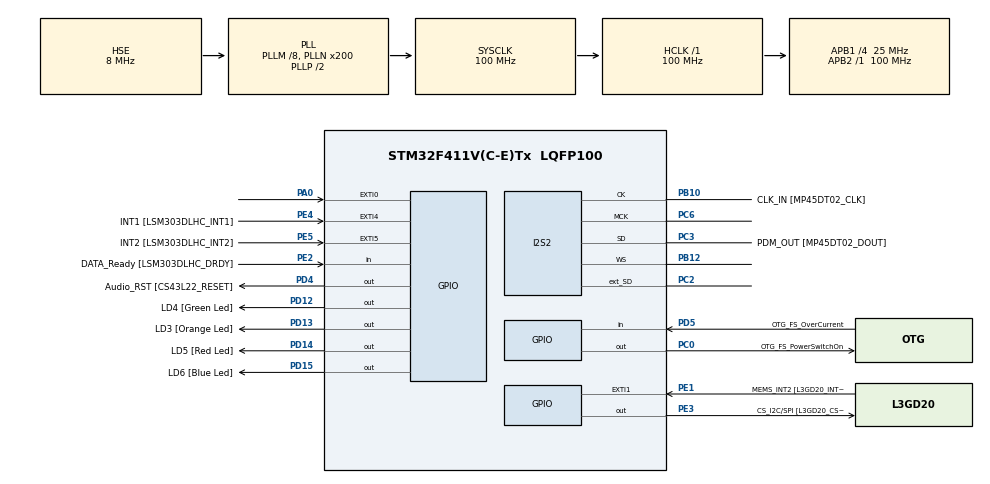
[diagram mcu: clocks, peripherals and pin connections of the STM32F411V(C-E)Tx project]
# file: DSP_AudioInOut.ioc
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Dma.I2S2_EXT_RX.0.Direction=DMA_PERIPH_TO_MEMORY
Dma.I2S2_EXT_RX.0.FIFOMode=DMA_FIFOMODE_DISABLE
Dma.I2S2_EXT_RX.0.Instance=DMA1_Stream3
Dma.I2S2_EXT_RX.0.MemDataAlignment=DMA_MDATAALIGN_HALFWORD
Dma.I2S2_EXT_RX.0.MemInc=DMA_MINC_ENABLE
Dma.I2S2_EXT_RX.0.Mode=DMA_CIRCULAR
Dma.I2S2_EXT_RX.0.PeriphDataAlignment=DMA_PDATAALIGN_HALFWORD
Dma.I2S2_EXT_RX.0.PeriphInc=DMA_PINC_DISABLE
Dma.I2S2_EXT_RX.0.Priority=DMA_PRIORITY_HIGH
Dma.Request0=I2S2_EXT_RX
Dma.Request1=SPI2_TX
Dma.SPI2_TX.1.Direction=DMA_MEMORY_TO_PERIPH
Dma.SPI2_TX.1.FIFOMode=DMA_FIFOMODE_DISABLE
Dma.SPI2_TX.1.Instance=DMA1_Stream4
Dma.SPI2_TX.1.MemDataAlignment=DMA_MDATAALIGN_HALFWORD
Dma.SPI2_TX.1.MemInc=DMA_MINC_ENABLE
Dma.SPI2_TX.1.Mode=DMA_CIRCULAR
Dma.SPI2_TX.1.PeriphDataAlignment=DMA_PDATAALIGN_HALFWORD
Dma.SPI2_TX.1.PeriphInc=DMA_PINC_DISABLE
Dma.SPI2_TX.1.Priority=DMA_PRIORITY_HIGH
I2S2.AudioFreq=I2S_AUDIOFREQ_96K
I2S2.DataFormat=I2S_DATAFORMAT_24B
I2S2.ErrorAudioFreq=-2.34 %
I2S2.FullDuplexMode=I2S_FULLDUPLEXMODE_ENABLE
I2S2.Instance=SPI$Index
I2S2.RealAudioFreq=93.75 KHz
I2S2.VirtualMode=I2S_MODE_MASTER
Mcu.Family=STM32F4
Mcu.Name=STM32F411V(C-E)Tx
Mcu.Package=LQFP100
NVIC.DMA1_Stream3_IRQn=true\:0\:0\:false\:false\:true\:false\:true\:true
NVIC.DMA1_Stream4_IRQn=true\:0\:0\:false\:false\:true\:false\:true\:true
NVIC.PriorityGroup=NVIC_PRIORITYGROUP_0
PA0-WKUP.GPIO_ModeDefaultEXTI=GPIO_MODE_EVT_RISING
PA0-WKUP.Signal=GPXTI0
PA10.GPIO_Label=OTG_FS_ID
PA10.Signal=USB_OTG_FS_ID
PA11.GPIO_Label=OTG_FS_DM
PA11.Signal=USB_OTG_FS_DM
PA12.GPIO_Label=OTG_FS_DP
PA12.Signal=USB_OTG_FS_DP
PA13.GPIO_Label=SWDIO
PA13.Mode=Serial_Wire
PA13.Signal=SYS_JTMS-SWDIO
PA14.GPIO_Label=SWCLK
PA14.Mode=Serial_Wire
PA14.Signal=SYS_JTCK-SWCLK
PA4.GPIO_Label=I2S3_WS [CS43L22_LRCK]
PA4.GPIO_Mode=GPIO_MODE_AF_PP
PA4.GPIO_PuPd=GPIO_NOPULL
PA4.GPIO_Speed=GPIO_SPEED_FREQ_LOW
PA4.Signal=I2S3_WS
PA5.GPIO_Label=SPI1_SCK [L3GD20_SC/SPC]
PA5.Signal=SPI1_SCK
PA6.GPIO_Label=SPI1_MISO [L3GD20_AS0/SDO]
PA6.Signal=SPI1_MISO
PA7.GPIO_Label=SPI1_MOSI [L3GD20_SDA/SDI/SDO]
PA7.Signal=SPI1_MOSI
PA9.GPIO_Label=VBUS_FS
PA9.Signal=USB_OTG_FS_VBUS
PB10.GPIO_Label=CLK_IN [MP45DT02_CLK]
PB10.Mode=Full_Duplex_Master
PB10.Signal=I2S2_CK
PB12.Mode=Full_Duplex_Master
PB12.Signal=I2S2_WS
PB3.GPIO_Label=SWO
PB3.Signal=SYS_JTDO-SWO
PB6.GPIO_Label=Audio_SCL [CS43L22_SCL]
PB6.GPIO_Mode=GPIO_MODE_AF_OD
PB6.GPIO_Pu=GPIO_PULLUP
PB6.GPIO_PuPd=GPIO_NOPULL
PB6.GPIO_Speed=GPIO_SPEED_FREQ_LOW
PB6.Signal=I2C1_SCL
PB9.GPIO_Label=Audio_SDA [CS43L22_SDA]
PB9.GPIO_Mode=GPIO_MODE_AF_OD
PB9.GPIO_Pu=GPIO_PULLUP
PB9.GPIO_PuPd=GPIO_NOPULL
PB9.GPIO_Speed=GPIO_SPEED_FREQ_LOW
PB9.Signal=I2C1_SDA
PC0.GPIO_Label=OTG_FS_PowerSwitchOn
PC0.PinState=GPIO_PIN_RESET
PC0.Signal=GPIO_Output
PC10.GPIO_Label=I2S3_SCK [CS43L22_SCLK]
PC10.GPIO_Mode=GPIO_MODE_AF_PP
PC10.GPIO_PuPd=GPIO_NOPULL
PC10.GPIO_Speed=GPIO_SPEED_FREQ_LOW
PC10.Signal=I2S3_CK
PC12.GPIO_Label=I2S3_SD [CS43L22_SDIN]
PC12.GPIO_Mode=GPIO_MODE_AF_PP
PC12.GPIO_PuPd=GPIO_NOPULL
PC12.GPIO_Speed=GPIO_SPEED_FREQ_LOW
PC12.Signal=I2S3_SD
PC14-OSC32_IN.GPIO_Label=PC14-OSC32_IN
PC14-OSC32_IN.Mode=LSE-External-Oscillator
PC14-OSC32_IN.Signal=RCC_OSC32_IN
PC15-OSC32_OUT.GPIO_Label=PC15-OSC32_OUT
PC15-OSC32_OUT.Mode=LSE-External-Oscillator
PC15-OSC32_OUT.Signal=RCC_OSC32_OUT
PC2.Mode=Full_Duplex_Master
PC2.Signal=I2S2_ext_SD
PC3.GPIO_Label=PDM_OUT [MP45DT02_DOUT]
PC3.Mode=Full_Duplex_Master
PC3.Signal=I2S2_SD
PC6.Mode=Master_Clock_Activated
PC6.Signal=I2S2_MCK
PC7.GPIO_Label=I2S3_MCK [CS43L22_MCLK]
PC7.GPIO_Mode=GPIO_MODE_AF_PP
PC7.GPIO_PuPd=GPIO_NOPULL
PC7.GPIO_Speed=GPIO_SPEED_FREQ_LOW
PC7.Signal=I2S3_MCK
PD12.GPIO_Label=LD4 [Green Led]
PD12.GPIO_PuPd=GPIO_NOPULL
PD12.GPIO_Speed=GPIO_SPEED_FREQ_LOW
PD12.Signal=GPIO_Output
PD13.GPIO_Label=LD3 [Orange Led]
PD13.GPIO_PuPd=GPIO_NOPULL
PD13.GPIO_Speed=GPIO_SPEED_FREQ_LOW
PD13.Signal=GPIO_Output
PD14.GPIO_Label=LD5 [Red Led]
PD14.GPIO_PuPd=GPIO_NOPULL
PD14.GPIO_Speed=GPIO_SPEED_FREQ_LOW
PD14.Signal=GPIO_Output
PD15.GPIO_Label=LD6 [Blue Led]
PD15.GPIO_PuPd=GPIO_NOPULL
PD15.GPIO_Speed=GPIO_SPEED_FREQ_LOW
PD15.Signal=GPIO_Output
PD4.GPIO_Label=Audio_RST [CS43L22_RESET]
PD4.Signal=GPIO_Output
PD5.GPIO_Label=OTG_FS_OverCurrent
PD5.Signal=GPIO_Input
PE1.GPIO_Label=MEMS_INT2 [L3GD20_INT2]
PE1.GPIO_ModeDefaultEXTI=GPIO_MODE_EVT_RISING
PE1.Signal=GPXTI1
PE2.GPIO_Label=DATA_Ready [LSM303DLHC_DRDY]
PE2.Signal=GPIO_Input
PE3.GPIO_Label=CS_I2C/SPI [L3GD20_CS_I2C/SPI]
PE3.Signal=GPIO_Output
PE4.GPIO_Label=INT1 [LSM303DLHC_INT1]
PE4.GPIO_ModeDefaultEXTI=GPIO_MODE_EVT_RISING
PE4.Signal=GPXTI4
PE5.GPIO_Label=INT2 [LSM303DLHC_INT2]
PE5.GPIO_ModeDefaultEXTI=GPIO_MODE_EVT_RISING
PE5.Signal=GPXTI5
PH0\ -\ OSC_IN.GPIO_Label=PH0-OSC_IN
PH0\ -\ OSC_IN.Mode=HSE-External-Oscillator
PH0\ -\ OSC_IN.Signal=RCC_OSC_IN
PH1\ -\ OSC_OUT.GPIO_Label=PH1-OSC_OUT
PH1\ -\ OSC_OUT.Mode=HSE-External-Oscillator
PH1\ -\ OSC_OUT.Signal=RCC_OSC_OUT
ProjectManager.HeapSize=0x200
ProjectManager.StackSize=0x400
ProjectManager.TargetToolchain=STM32CubeIDE
RCC.48MHZClocksFreq_Value=50000000
RCC.AHBFreq_Value=100000000
RCC.APB1CLKDivider=RCC_HCLK_DIV4
RCC.APB1Freq_Value=25000000
RCC.APB1TimFreq_Value=50000000
RCC.APB2Freq_Value=100000000
RCC.APB2TimFreq_Value=100000000
RCC.CortexFreq_Value=100000000
RCC.HCLKFreq_Value=100000000
RCC.HSE_VALUE=8000000
RCC.HSI_VALUE=16000000
RCC.PLLI2SM=8
RCC.PLLM=8
RCC.PLLN=200
RCC.PLLSourceVirtual=RCC_PLLSOURCE_HSE
RCC.SYSCLKFreq_VALUE=100000000
RCC.SYSCLKSource=RCC_SYSCLKSOURCE_PLLCLK
RCC.VCOOutputFreq_Value=200000000
board=STM32F411E-DISCO

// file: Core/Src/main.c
/* USER CODE BEGIN Header */
/**
  ******************************************************************************
  * @file           : main.c
  * @brief          : Main program body
  ******************************************************************************
  * @attention
  *
  * Copyright (c) 2022 STMicroelectronics.
  * All rights reserved.
  *
  * This software is licensed under terms that can be found in the LICENSE file
  * in the root directory of this software component.
  * If no LICENSE file comes with this software, it is provided AS-IS.
  *
  ******************************************************************************

  I2S source: https://audiodsplab.wordpress.com/ping-pong-buffer-audio-stream/
  */
/* USER CODE END Header */
#include "main.h"

/* USER CODE BEGIN PD */

// the sample data is splitted into 2 uint16, 2 channels (L & R) -> 2*2
#define SAMPLE_SIZE 4

/* USER CODE END PD */

I2S_HandleTypeDef hi2s2;
DMA_HandleTypeDef hdma_i2s2_ext_rx;
DMA_HandleTypeDef hdma_spi2_tx;

void SystemClock_Config(void);
static void MX_GPIO_Init(void);
static void MX_DMA_Init(void);
static void MX_I2S2_Init(void);

/* USER CODE BEGIN 0 */
uint16_t rxBuf[SAMPLE_SIZE * 2]; // Receive buffer (1st -> half, 2nd -> complete)
uint16_t txBuf[SAMPLE_SIZE * 2]; // Transmit buffer
/* USER CODE END 0 */

int main(void)
{

  /* MCU Configuration--------------------------------------------------------*/

  /* Reset of all peripherals, Initializes the Flash interface and the Systick. */
  HAL_Init();

  /* Configure the system clock */
  SystemClock_Config();

  /* Initialize all configured peripherals */
  MX_GPIO_Init();
  MX_DMA_Init();
  MX_I2S2_Init();
  /* USER CODE BEGIN 2 */

  // Call to I2S data transfer using DMA, for ping pong buffer audio stream
  // Data size of 4 -> a full transfer is 2 left-right sample pairs (4 uint16 total)
  HAL_I2SEx_TransmitReceive_DMA(&hi2s2, txBuf, rxBuf, SAMPLE_SIZE);

  /* USER CODE END 2 */

  /* Infinite loop */
  while (1)
  {

  }
}

void SystemClock_Config(void)
{
  RCC_OscInitTypeDef RCC_OscInitStruct = {0};
  RCC_ClkInitTypeDef RCC_ClkInitStruct = {0};

  /** Configure the main internal regulator output voltage
  */
  __HAL_RCC_PWR_CLK_ENABLE();
  __HAL_PWR_VOLTAGESCALING_CONFIG(PWR_REGULATOR_VOLTAGE_SCALE1);

  /** Initializes the RCC Oscillators according to the specified parameters
  * in the RCC_OscInitTypeDef structure.
  */
  RCC_OscInitStruct.OscillatorType = RCC_OSCILLATORTYPE_HSE;
  RCC_OscInitStruct.HSEState = RCC_HSE_ON;
  RCC_OscInitStruct.PLL.PLLState = RCC_PLL_ON;
  RCC_OscInitStruct.PLL.PLLSource = RCC_PLLSOURCE_HSE;
  RCC_OscInitStruct.PLL.PLLM = 8;
  RCC_OscInitStruct.PLL.PLLN = 200;
  RCC_OscInitStruct.PLL.PLLP = RCC_PLLP_DIV2;
  RCC_OscInitStruct.PLL.PLLQ = 4;
  if (HAL_RCC_OscConfig(&RCC_OscInitStruct) != HAL_OK)
  {
    Error_Handler();
  }

  /** Initializes the CPU, AHB and APB buses clocks
  */
  RCC_ClkInitStruct.ClockType = RCC_CLOCKTYPE_HCLK|RCC_CLOCKTYPE_SYSCLK
                              |RCC_CLOCKTYPE_PCLK1|RCC_CLOCKTYPE_PCLK2;
  RCC_ClkInitStruct.SYSCLKSource = RCC_SYSCLKSOURCE_PLLCLK;
  RCC_ClkInitStruct.AHBCLKDivider = RCC_SYSCLK_DIV1;
  RCC_ClkInitStruct.APB1CLKDivider = RCC_HCLK_DIV4;
  RCC_ClkInitStruct.APB2CLKDivider = RCC_HCLK_DIV1;

  if (HAL_RCC_ClockConfig(&RCC_ClkInitStruct, FLASH_LATENCY_3) != HAL_OK)
  {
    Error_Handler();
  }
}

static void MX_I2S2_Init(void)
{

  hi2s2.Instance = SPI2;
  hi2s2.Init.Mode = I2S_MODE_MASTER_TX;
  hi2s2.Init.Standard = I2S_STANDARD_PHILIPS;
  hi2s2.Init.DataFormat = I2S_DATAFORMAT_24B;
  hi2s2.Init.MCLKOutput = I2S_MCLKOUTPUT_ENABLE;
  hi2s2.Init.AudioFreq = I2S_AUDIOFREQ_96K;
  hi2s2.Init.CPOL = I2S_CPOL_LOW;
  hi2s2.Init.ClockSource = I2S_CLOCK_PLL;
  hi2s2.Init.FullDuplexMode = I2S_FULLDUPLEXMODE_ENABLE;
  if (HAL_I2S_Init(&hi2s2) != HAL_OK)
  {
    Error_Handler();
  }

}

static void MX_DMA_Init(void)
{

  /* DMA controller clock enable */
  __HAL_RCC_DMA1_CLK_ENABLE();

  /* DMA interrupt init */
  /* DMA1_Stream3_IRQn interrupt configuration */
  HAL_NVIC_SetPriority(DMA1_Stream3_IRQn, 0, 0);
  HAL_NVIC_EnableIRQ(DMA1_Stream3_IRQn);
  /* DMA1_Stream4_IRQn interrupt configuration */
  HAL_NVIC_SetPriority(DMA1_Stream4_IRQn, 0, 0);
  HAL_NVIC_EnableIRQ(DMA1_Stream4_IRQn);

}

static void MX_GPIO_Init(void)
{
  GPIO_InitTypeDef GPIO_InitStruct = {0};

  /* GPIO Ports Clock Enable */
  __HAL_RCC_GPIOE_CLK_ENABLE();
  __HAL_RCC_GPIOC_CLK_ENABLE();
  __HAL_RCC_GPIOH_CLK_ENABLE();
  __HAL_RCC_GPIOA_CLK_ENABLE();
  __HAL_RCC_GPIOB_CLK_ENABLE();
  __HAL_RCC_GPIOD_CLK_ENABLE();

  /*Configure GPIO pin Output Level */
  HAL_GPIO_WritePin(CS_I2C_SPI_GPIO_Port, CS_I2C_SPI_Pin, GPIO_PIN_RESET);

  /*Configure GPIO pin Output Level */
  HAL_GPIO_WritePin(OTG_FS_PowerSwitchOn_GPIO_Port, OTG_FS_PowerSwitchOn_Pin, GPIO_PIN_RESET);

  /*Configure GPIO pin Output Level */
  HAL_GPIO_WritePin(GPIOD, LD4_Pin|LD3_Pin|LD5_Pin|LD6_Pin
                          |Audio_RST_Pin, GPIO_PIN_RESET);

  /*Configure GPIO pin : DATA_Ready_Pin */
  GPIO_InitStruct.Pin = DATA_Ready_Pin;
  GPIO_InitStruct.Mode = GPIO_MODE_INPUT;
  GPIO_InitStruct.Pull = GPIO_NOPULL;
  HAL_GPIO_Init(DATA_Ready_GPIO_Port, &GPIO_InitStruct);

  /*Configure GPIO pin : CS_I2C_SPI_Pin */
  GPIO_InitStruct.Pin = CS_I2C_SPI_Pin;
  GPIO_InitStruct.Mode = GPIO_MODE_OUTPUT_PP;
  GPIO_InitStruct.Pull = GPIO_NOPULL;
  GPIO_InitStruct.Speed = GPIO_SPEED_FREQ_LOW;
  HAL_GPIO_Init(CS_I2C_SPI_GPIO_Port, &GPIO_InitStruct);

  /*Configure GPIO pins : INT1_Pin INT2_Pin MEMS_INT2_Pin */
  GPIO_InitStruct.Pin = INT1_Pin|INT2_Pin|MEMS_INT2_Pin;
  GPIO_InitStruct.Mode = GPIO_MODE_EVT_RISING;
  GPIO_InitStruct.Pull = GPIO_NOPULL;
  HAL_GPIO_Init(GPIOE, &GPIO_InitStruct);

  /*Configure GPIO pin : OTG_FS_PowerSwitchOn_Pin */
  GPIO_InitStruct.Pin = OTG_FS_PowerSwitchOn_Pin;
  GPIO_InitStruct.Mode = GPIO_MODE_OUTPUT_PP;
  GPIO_InitStruct.Pull = GPIO_NOPULL;
  GPIO_InitStruct.Speed = GPIO_SPEED_FREQ_LOW;
  HAL_GPIO_Init(OTG_FS_PowerSwitchOn_GPIO_Port, &GPIO_InitStruct);

  /*Configure GPIO pin : PA0 */
  GPIO_InitStruct.Pin = GPIO_PIN_0;
  GPIO_InitStruct.Mode = GPIO_MODE_EVT_RISING;
  GPIO_InitStruct.Pull = GPIO_NOPULL;
  HAL_GPIO_Init(GPIOA, &GPIO_InitStruct);

  /*Configure GPIO pin : I2S3_WS_Pin */
  GPIO_InitStruct.Pin = I2S3_WS_Pin;
  GPIO_InitStruct.Mode = GPIO_MODE_AF_PP;
  GPIO_InitStruct.Pull = GPIO_NOPULL;
  GPIO_InitStruct.Speed = GPIO_SPEED_FREQ_LOW;
  GPIO_InitStruct.Alternate = GPIO_AF6_SPI3;
  HAL_GPIO_Init(I2S3_WS_GPIO_Port, &GPIO_InitStruct);

  /*Configure GPIO pins : SPI1_SCK_Pin SPI1_MISO_Pin SPI1_MOSI_Pin */
  GPIO_InitStruct.Pin = SPI1_SCK_Pin|SPI1_MISO_Pin|SPI1_MOSI_Pin;
  GPIO_InitStruct.Mode = GPIO_MODE_AF_PP;
  GPIO_InitStruct.Pull = GPIO_NOPULL;
  GPIO_InitStruct.Speed = GPIO_SPEED_FREQ_VERY_HIGH;
  GPIO_InitStruct.Alternate = GPIO_AF5_SPI1;
  HAL_GPIO_Init(GPIOA, &GPIO_InitStruct);

  /*Configure GPIO pins : LD4_Pin LD3_Pin LD5_Pin LD6_Pin
                           Audio_RST_Pin */
  GPIO_InitStruct.Pin = LD4_Pin|LD3_Pin|LD5_Pin|LD6_Pin
                          |Audio_RST_Pin;
  GPIO_InitStruct.Mode = GPIO_MODE_OUTPUT_PP;
  GPIO_InitStruct.Pull = GPIO_NOPULL;
  GPIO_InitStruct.Speed = GPIO_SPEED_FREQ_LOW;
  HAL_GPIO_Init(GPIOD, &GPIO_InitStruct);

  /*Configure GPIO pins : I2S3_MCK_Pin I2S3_SCK_Pin I2S3_SD_Pin */
  GPIO_InitStruct.Pin = I2S3_MCK_Pin|I2S3_SCK_Pin|I2S3_SD_Pin;
  GPIO_InitStruct.Mode = GPIO_MODE_AF_PP;
  GPIO_InitStruct.Pull = GPIO_NOPULL;
  GPIO_InitStruct.Speed = GPIO_SPEED_FREQ_LOW;
  GPIO_InitStruct.Alternate = GPIO_AF6_SPI3;
  HAL_GPIO_Init(GPIOC, &GPIO_InitStruct);

  /*Configure GPIO pin : VBUS_FS_Pin */
  GPIO_InitStruct.Pin = VBUS_FS_Pin;
  GPIO_InitStruct.Mode = GPIO_MODE_INPUT;
  GPIO_InitStruct.Pull = GPIO_NOPULL;
  HAL_GPIO_Init(VBUS_FS_GPIO_Port, &GPIO_InitStruct);

  /*Configure GPIO pins : OTG_FS_ID_Pin OTG_FS_DM_Pin OTG_FS_DP_Pin */
  GPIO_InitStruct.Pin = OTG_FS_ID_Pin|OTG_FS_DM_Pin|OTG_FS_DP_Pin;
  GPIO_InitStruct.Mode = GPIO_MODE_AF_PP;
  GPIO_InitStruct.Pull = GPIO_NOPULL;
  GPIO_InitStruct.Speed = GPIO_SPEED_FREQ_VERY_HIGH;
  GPIO_InitStruct.Alternate = GPIO_AF10_OTG_FS;
  HAL_GPIO_Init(GPIOA, &GPIO_InitStruct);

  /*Configure GPIO pin : OTG_FS_OverCurrent_Pin */
  GPIO_InitStruct.Pin = OTG_FS_OverCurrent_Pin;
  GPIO_InitStruct.Mode = GPIO_MODE_INPUT;
  GPIO_InitStruct.Pull = GPIO_NOPULL;
  HAL_GPIO_Init(OTG_FS_OverCurrent_GPIO_Port, &GPIO_InitStruct);

  /*Configure GPIO pins : Audio_SCL_Pin Audio_SDA_Pin */
  GPIO_InitStruct.Pin = Audio_SCL_Pin|Audio_SDA_Pin;
  GPIO_InitStruct.Mode = GPIO_MODE_AF_OD;
  GPIO_InitStruct.Pull = GPIO_PULLUP;
  GPIO_InitStruct.Speed = GPIO_SPEED_FREQ_LOW;
  GPIO_InitStruct.Alternate = GPIO_AF4_I2C1;
  HAL_GPIO_Init(GPIOB, &GPIO_InitStruct);

}

/* USER CODE BEGIN 4 */
float int24ToFloat(int inSample)
{
	// if inSample is negative, convert it to 32-bit negative int
	if (inSample & 0x800000)
		inSample |= 0xFF000000;
	return ((float)inSample / (8388608.f));
}

int floatToInt24(float inSample)
{
	int sample = (int)(inSample * 8388608.f);
	if (sample & 0x80000000)
		sample &= 0xFFFFFF;
	return sample;
}

float process(float inSample)
{
	// Do your processing here...
	return inSample;
}

void HAL_I2SEx_TxRxHalfCpltCallback(I2S_HandleTypeDef *hi2s)
{
	// Form L and R samples from the halfwords transfered via I2S
	// Left shift on first halfword, right shift on second one -> 24 bit sample
	int lIn = (int) ((rxBuf[0]<<8)|(rxBuf[1]>>8));
	int rIn = (int) ((rxBuf[2]<<8)|(rxBuf[3]>>8));

	float f_lIn = int24ToFloat(lIn);
	float f_rIn = int24ToFloat(rIn);

	// Processing
	f_lIn = process(f_lIn);
	f_rIn = process(f_rIn);

	int lOut = floatToInt24(f_lIn);
	int rOut = floatToInt24(f_rIn);

	// Disassemble L and R samples into halfwords and store to buffer
	txBuf[0] = (lOut>>8) & 0xFFFF;
	txBuf[1] = (lOut<<8) & 0xFFFF;
	txBuf[2] = (rOut>>8) & 0xFFFF;
	txBuf[3] = (rOut<<8) & 0xFFFF;
}

void HAL_I2SEx_TxRxCpltCallback(I2S_HandleTypeDef *hi2s)
{
	// Form L and R samples from the halfwords transfered via I2S
	// Left shift on first halfword, right shift on second one -> 24 bit sample
	int lIn = (int) ((rxBuf[4]<<8)|(rxBuf[5]>>8));
	int rIn = (int) ((rxBuf[6]<<8)|(rxBuf[7]>>8));

	float f_lIn = int24ToFloat(lIn);
	float f_rIn = int24ToFloat(rIn);

	// Processing
	f_lIn = process(f_lIn);
	f_rIn = process(f_rIn);

	int lOut = floatToInt24(f_lIn);
	int rOut = floatToInt24(f_rIn);

	// Disassemble L and R samples into halfwords and store to buffer
	txBuf[4] = (lOut>>8) & 0xFFFF;
	txBuf[5] = (lOut<<8) & 0xFFFF;
	txBuf[6] = (rOut>>8) & 0xFFFF;
	txBuf[7] = (rOut<<8) & 0xFFFF;
}
/* USER CODE END 4 */

void Error_Handler(void)
{
  __disable_irq();
  while (1)
  {
  }
}
